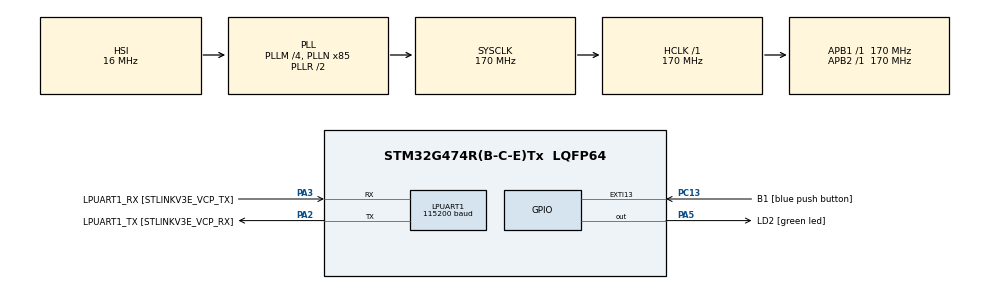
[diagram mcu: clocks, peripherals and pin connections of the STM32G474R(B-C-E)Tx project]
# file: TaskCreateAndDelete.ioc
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FREERTOS.Tasks01=defaultTask,24,128,StartDefaultTask,Default,NULL,Dynamic,NULL,NULL
FREERTOS.configENABLE_FPU=1
FREERTOS.configTOTAL_HEAP_SIZE=51200
FREERTOS.configUSE_NEWLIB_REENTRANT=1
LPUART1.BaudRate=115200
LPUART1.WordLength=UART_WORDLENGTH_8B
Mcu.Family=STM32G4
Mcu.Name=STM32G474R(B-C-E)Tx
Mcu.Package=LQFP64
NVIC.EXTI15_10_IRQn=true\:5\:0\:false\:false\:true\:true\:true\:true\:true
NVIC.PriorityGroup=NVIC_PRIORITYGROUP_4
NVIC.TIM1_UP_TIM16_IRQn=true\:15\:0\:false\:false\:true\:false\:false\:true\:true
NVIC.TimeBase=TIM1_UP_TIM16_IRQn
NVIC.TimeBaseIP=TIM1
PA13.GPIO_Label=T_SWDIO
PA13.Mode=Serial_Wire
PA13.Signal=SYS_JTMS-SWDIO
PA14.GPIO_Label=T_SWCLK
PA14.Mode=Serial_Wire
PA14.Signal=SYS_JTCK-SWCLK
PA2.GPIO_Label=LPUART1_TX [STLINKV3E_VCP_RX]
PA2.Mode=Asynchronous
PA2.Signal=LPUART1_TX
PA3.GPIO_Label=LPUART1_RX [STLINKV3E_VCP_TX]
PA3.Mode=Asynchronous
PA3.Signal=LPUART1_RX
PA5.GPIO_Label=LD2 [green led]
PA5.Signal=GPIO_Output
PB3.GPIO_Label=T_SWO
PB3.Signal=SYS_JTDO-SWO
PC13.GPIO_Label=B1 [blue push button]
PC13.Signal=GPXTI13
PC14-OSC32_IN.Mode=LSE-External-Oscillator
PC14-OSC32_IN.Signal=RCC_OSC32_IN
PC15-OSC32_OUT.Mode=LSE-External-Oscillator
PC15-OSC32_OUT.Signal=RCC_OSC32_OUT
PF0-OSC_IN.Mode=HSE-External-Oscillator
PF0-OSC_IN.Signal=RCC_OSC_IN
PF1-OSC_OUT.Mode=HSE-External-Oscillator
PF1-OSC_OUT.Signal=RCC_OSC_OUT
ProjectManager.HeapSize=0x200
ProjectManager.StackSize=0x400
ProjectManager.TargetToolchain=STM32CubeIDE
RCC.ADC12Freq_Value=170000000
RCC.ADC345Freq_Value=170000000
RCC.AHBFreq_Value=170000000
RCC.APB1Freq_Value=170000000
RCC.APB1TimFreq_Value=170000000
RCC.APB2Freq_Value=170000000
RCC.APB2TimFreq_Value=170000000
RCC.CortexFreq_Value=170000000
RCC.EXTERNAL_CLOCK_VALUE=12288000
RCC.HCLKFreq_Value=170000000
RCC.HSE_VALUE=24000000
RCC.HSI48_VALUE=48000000
RCC.HSI_VALUE=16000000
RCC.PLLM=RCC_PLLM_DIV4
RCC.PLLN=85
RCC.RTCClockSelection=RCC_RTCCLKSOURCE_LSE
RCC.SYSCLKFreq_VALUE=170000000
RCC.SYSCLKSource=RCC_SYSCLKSOURCE_PLLCLK
RCC.USBFreq_Value=170000000
RCC.VCOOutputFreq_Value=340000000
VP_FREERTOS_VS_CMSIS_V2.Mode=CMSIS_V2
VP_SYS_VS_DBSignals.Mode=DisableDeadBatterySignals
VP_SYS_VS_tim1.Mode=TIM1
board=NUCLEO-G474RE

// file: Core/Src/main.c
/* USER CODE BEGIN Header */
/**
  ******************************************************************************
  * @file           : main.c
  * @brief          : Main program body
  ******************************************************************************
  * @attention
  *
  * Copyright (c) 2023 STMicroelectronics.
  * All rights reserved.
  *
  * This software is licensed under terms that can be found in the LICENSE file
  * in the root directory of this software component.
  * If no LICENSE file comes with this software, it is provided AS-IS.
  *
  ******************************************************************************
  */
/* USER CODE END Header */
#include "main.h"
#include "cmsis_os.h"
#include "usart.h"
#include "gpio.h"

/* USER CODE BEGIN Includes */
#include "stdio.h"
/* USER CODE END Includes */

/* USER CODE BEGIN PD */
#ifdef __GNUC__
#define PUTCHAR_PROTOTYPE int __io_putchar(int ch)
#else
#define PUTCHAR_PROTOTYPE int fputc(int ch, FILE *f)
#endif
// 串口输出调试信息
PUTCHAR_PROTOTYPE {
    HAL_UART_Transmit(&hlpuart1, (uint8_t *) &ch, 1, 0xFFFF);//阻塞方式打印,串口1
    return ch;
}
/* USER CODE END PD */

void SystemClock_Config(void);
void MX_FREERTOS_Init(void);

int main(void)
{

  /* MCU Configuration--------------------------------------------------------*/

  /* Reset of all peripherals, Initializes the Flash interface and the Systick. */
  HAL_Init();

  /* Configure the system clock */
  SystemClock_Config();

  /* Initialize all configured peripherals */
  MX_GPIO_Init();
  MX_LPUART1_UART_Init();

  /* Init scheduler */
  osKernelInitialize();  /* Call init function for freertos objects (in freertos.c) */
  MX_FREERTOS_Init();

  /* Start scheduler */
  osKernelStart();

  /* We should never get here as control is now taken by the scheduler */
  /* Infinite loop */
  while (1)
  {

  }
}

void SystemClock_Config(void)
{
  RCC_OscInitTypeDef RCC_OscInitStruct = {0};
  RCC_ClkInitTypeDef RCC_ClkInitStruct = {0};

  /** Configure the main internal regulator output voltage
  */
  HAL_PWREx_ControlVoltageScaling(PWR_REGULATOR_VOLTAGE_SCALE1_BOOST);

  /** Initializes the RCC Oscillators according to the specified parameters
  * in the RCC_OscInitTypeDef structure.
  */
  RCC_OscInitStruct.OscillatorType = RCC_OSCILLATORTYPE_HSI;
  RCC_OscInitStruct.HSIState = RCC_HSI_ON;
  RCC_OscInitStruct.HSICalibrationValue = RCC_HSICALIBRATION_DEFAULT;
  RCC_OscInitStruct.PLL.PLLState = RCC_PLL_ON;
  RCC_OscInitStruct.PLL.PLLSource = RCC_PLLSOURCE_HSI;
  RCC_OscInitStruct.PLL.PLLM = RCC_PLLM_DIV4;
  RCC_OscInitStruct.PLL.PLLN = 85;
  RCC_OscInitStruct.PLL.PLLP = RCC_PLLP_DIV2;
  RCC_OscInitStruct.PLL.PLLQ = RCC_PLLQ_DIV2;
  RCC_OscInitStruct.PLL.PLLR = RCC_PLLR_DIV2;
  if (HAL_RCC_OscConfig(&RCC_OscInitStruct) != HAL_OK)
  {
    Error_Handler();
  }

  /** Initializes the CPU, AHB and APB buses clocks
  */
  RCC_ClkInitStruct.ClockType = RCC_CLOCKTYPE_HCLK|RCC_CLOCKTYPE_SYSCLK
                              |RCC_CLOCKTYPE_PCLK1|RCC_CLOCKTYPE_PCLK2;
  RCC_ClkInitStruct.SYSCLKSource = RCC_SYSCLKSOURCE_PLLCLK;
  RCC_ClkInitStruct.AHBCLKDivider = RCC_SYSCLK_DIV1;
  RCC_ClkInitStruct.APB1CLKDivider = RCC_HCLK_DIV1;
  RCC_ClkInitStruct.APB2CLKDivider = RCC_HCLK_DIV1;

  if (HAL_RCC_ClockConfig(&RCC_ClkInitStruct, FLASH_LATENCY_4) != HAL_OK)
  {
    Error_Handler();
  }
}

void HAL_TIM_PeriodElapsedCallback(TIM_HandleTypeDef *htim)
{
  if (htim->Instance == TIM1) {
    HAL_IncTick();
  }
}

void Error_Handler(void)
{
  __disable_irq();
  while (1)
  {
  }
}

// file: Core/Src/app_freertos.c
/* USER CODE BEGIN Header */
/**
  ******************************************************************************
  * File Name          : app_freertos.c
  * Description        : Code for freertos applications
  ******************************************************************************
  * @attention
  *
  * Copyright (c) 2023 STMicroelectronics.
  * All rights reserved.
  *
  * This software is licensed under terms that can be found in the LICENSE file
  * in the root directory of this software component.
  * If no LICENSE file comes with this software, it is provided AS-IS.
  *
  ******************************************************************************
  */
/* USER CODE END Header */

#include "FreeRTOS.h"
#include "task.h"
#include "main.h"
#include "cmsis_os.h"

/* USER CODE BEGIN Includes */
#include "stdio.h"
/* USER CODE END Includes */

/* USER CODE BEGIN Variables */
// 定义任务句柄
TaskHandle_t taskHandle1;
TaskHandle_t taskHandle2;
TaskHandle_t taskHandle3;

// 任务二堆栈和控制块定义
StaticTask_t task2_TCB;         // 任务控制块
StackType_t task2_stack[512];   // 任务堆栈大小

/* USER CODE END Variables */
/* Definitions for defaultTask */
osThreadId_t defaultTaskHandle;
const osThreadAttr_t defaultTask_attributes = {
        .name = "defaultTask",
        .priority = (osPriority_t) osPriorityNormal,
        .stack_size = 128
};

/* USER CODE BEGIN FunctionPrototypes */
// 测试的任务线程
void Task1(void *argument);

void Task2(void *argument);

void Task3(void *argument);

/* USER CODE END FunctionPrototypes */

void StartDefaultTask(void *argument);

void MX_FREERTOS_Init(void); /* (MISRA C 2004 rule 8.1) */

void MX_FREERTOS_Init(void) {

    /* Create the thread(s) */
    /* creation of defaultTask */
    defaultTaskHandle = osThreadNew(StartDefaultTask, NULL, &defaultTask_attributes);

    /* USER CODE BEGIN RTOS_THREADS */
    /* add threads, ... */
    // 创建任务参数
    xTaskCreate(Task1, "task1", 200, NULL, osPriorityLow, &taskHandle1);
    // 静态任务创建返回的句柄用于销毁任务
    taskHandle2 = xTaskCreateStatic(Task2, "task2", 200, NULL, osPriorityLow, task2_stack, &task2_TCB);
    xTaskCreate(Task3, "task3", 200, NULL, osPriorityLow, &taskHandle3);
    /* USER CODE END RTOS_THREADS */

}

void StartDefaultTask(void *argument) {
    /* USER CODE BEGIN StartDefaultTask */
    /* Infinite loop */
    for (;;) {
        // 默认系统呼吸灯
        HAL_GPIO_TogglePin(LD2_GPIO_Port, LD2_Pin);
        vTaskDelay(500);
//        printf("LED\n");
    }
    /* USER CODE END StartDefaultTask */
}

/* USER CODE BEGIN Application */
// 动态创建task
void Task1(void *argument) {
    uint8_t i = 1;
    while (1){
        portENTER_CRITICAL();
        printf("Task1 run:%d\n",i);
        portEXIT_CRITICAL();
        vTaskDelay(500);
        i++;
    }
}

// 静态创建task(运行五次后删除task1)
void Task2(void *argument) {
    uint32_t j = 1;
    while (1){
        portENTER_CRITICAL();
        printf("Task2 run:%d\n",j);
        portEXIT_CRITICAL();
        vTaskDelay(500);
        if (++j == 6){
            vTaskDelete(taskHandle1);
        }
    }
}

// 运行三次删除task
void Task3(void *argument) {
    uint8_t k = 1;
    while (1) {
        portENTER_CRITICAL();
        printf("Task3 run:%d\n", k);
        portEXIT_CRITICAL();
        vTaskDelay(500);
        if (++k == 4) {
            // 直接删除自身任务线程
            vTaskDelete(NULL);
        }
    }
}

/* USER CODE END Application */
